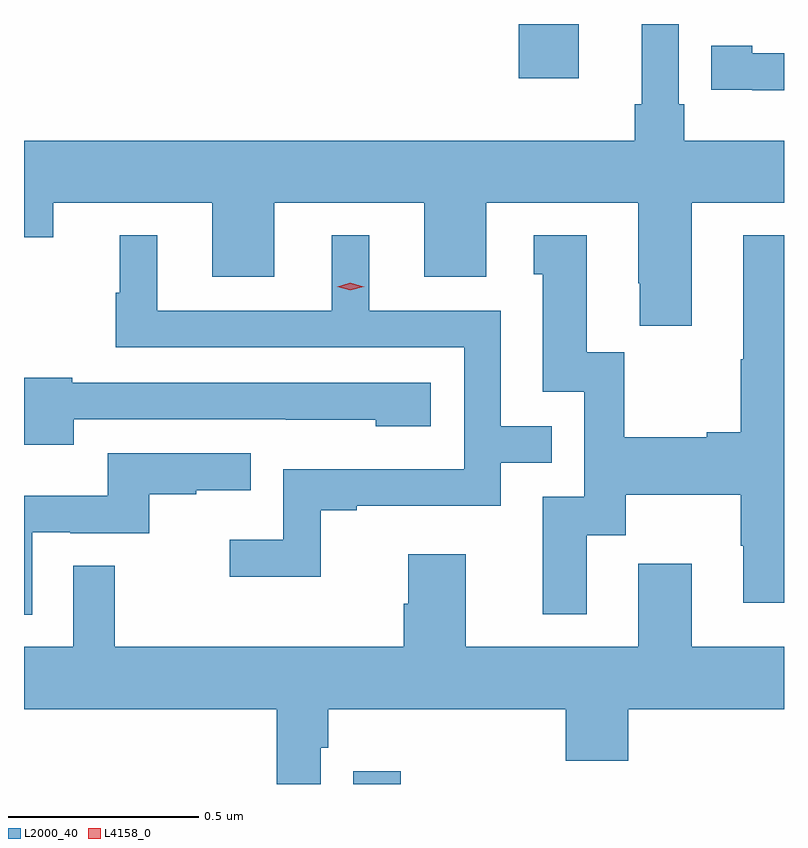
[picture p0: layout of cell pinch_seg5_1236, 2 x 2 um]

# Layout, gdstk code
import gdstk
lib = gdstk.Library(unit=1e-6, precision=1e-09)
def R(c, l, rs):  # rectangles x0, y0, x1, y1
    for r in rs: c.add(gdstk.rectangle(r[:2], r[2:], *l))
def P(c, l, *ps):  # polygons
    for p in ps: c.add(gdstk.Polygon(p, *l))
L2000_40 = (2000, 40)
L4158_0 = (4158, 0)

pinch_seg5_1236 = lib.new_cell('pinch_seg5_1236')
R(pinch_seg5_1236, L2000_40, [(554.08,891.195,554.206,891.229), (554.516,893.052,554.674,893.195)])
P(pinch_seg5_1236, L2000_40, [(554.971,892.724),(555.214,892.724),(555.214,892.888),(554.951,892.888),(554.951,892.984),(554.937,892.984),(554.937,893.195),(554.84,893.195),(554.84,892.984),(554.821,892.984),(554.821,892.888),(553.214,892.888),(553.214,892.634),(553.291,892.634),(553.291,892.724),(553.709,892.724),(553.709,892.53),(553.873,892.53),(553.873,892.724),(554.267,892.724),(554.267,892.53),(554.431,892.53),(554.431,892.724),(554.831,892.724),(554.831,892.513),(554.834,892.513),(554.834,892.401),(554.971,892.401)],
  [(555.214,893.118),(555.13,893.118),(555.13,893.138),(555.022,893.138),(555.022,893.022),(555.13,893.022),(555.13,893.021),(555.214,893.021)],
  [(553.995,891.915),(554.089,891.915),(554.089,891.927),(554.469,891.927),(554.469,892.041),(554.603,892.041),(554.603,892.137),(554.469,892.137),(554.469,892.44),(554.122,892.44),(554.122,892.639),(554.024,892.639),(554.024,892.44),(553.564,892.44),(553.564,892.639),(553.466,892.639),(553.466,892.488),(553.455,892.488),(553.455,892.344),(554.373,892.344),(554.373,892.023),(553.896,892.023),(553.896,891.838),(553.755,891.838),(553.755,891.74),(553.995,891.74)],
  [(554.695,891.85),(554.797,891.85),(554.797,891.956),(555.1,891.956),(555.1,891.822),(555.107,891.822),(555.107,891.672),(555.214,891.672),(555.214,892.639),(555.107,892.639),(555.107,892.313),(555.1,892.313),(555.1,892.121),(555.011,892.121),(555.011,892.108),(554.793,892.108),(554.793,892.331),(554.695,892.331),(554.695,892.639),(554.555,892.639),(554.555,892.536),(554.579,892.536),(554.579,892.227),(554.688,892.227),(554.688,891.951),(554.579,891.951),(554.579,891.642),(554.695,891.642)],
  [(553.345,892.155),(553.903,892.155),(553.903,892.154),(554.139,892.154),(554.139,892.136),(554.284,892.136),(554.284,892.251),(553.341,892.251),(553.341,892.264),(553.214,892.264),(553.214,892.088),(553.345,892.088)],
  [(553.236,891.858),(553.336,891.858),(553.336,891.855),(553.544,891.855),(553.544,891.957),(553.667,891.957),(553.667,891.968),(553.811,891.968),(553.811,892.065),(553.434,892.065),(553.434,891.953),(553.214,891.953),(553.214,891.641),(553.236,891.641)],
  [(553.995,891.291),(554.015,891.291),(554.015,891.392),(554.639,891.392),(554.639,891.256),(554.804,891.256),(554.804,891.392),(555.214,891.392),(555.214,891.556),(554.971,891.556),(554.971,891.775),(554.831,891.775),(554.831,891.556),(554.377,891.556),(554.377,891.799),(554.225,891.799),(554.225,891.669),(554.213,891.669),(554.213,891.556),(553.453,891.556),(553.453,891.77),(553.344,891.77),(553.344,891.556),(553.214,891.556),(553.214,891.392),(553.879,891.392),(553.879,891.195),(553.995,891.195)])
P(pinch_seg5_1236, L4158_0, [(554.073,892.494),(554.038,892.504),(554.037,892.504),(554.038,892.504),(554.073,892.514),(554.108,892.504),(554.109,892.504),(554.108,892.504)])

lib.write_gds('pinch_seg5_1236.gds')
